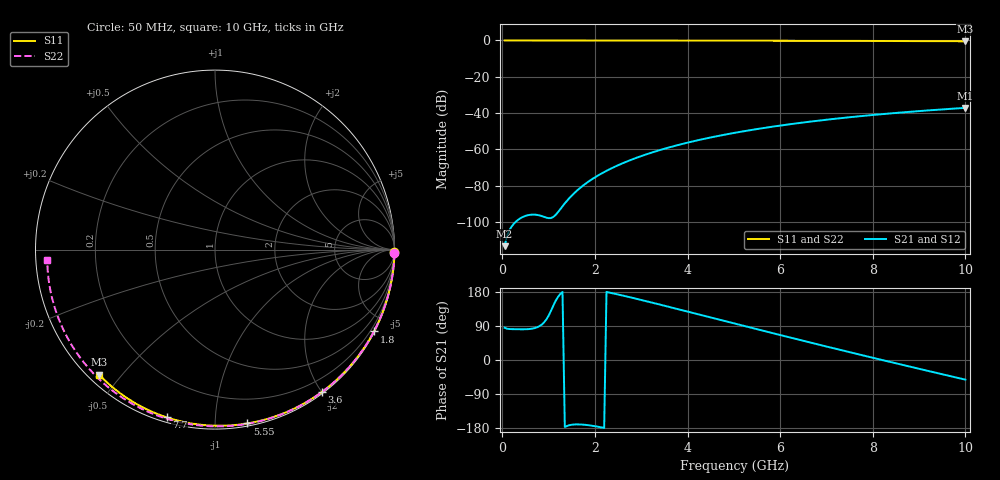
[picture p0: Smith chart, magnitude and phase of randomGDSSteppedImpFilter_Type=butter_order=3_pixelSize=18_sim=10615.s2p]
! freq	dB(S11)	phase(S11)	dB(S12)	phase(S12)
!  dB(S21)	phase(S21)	dB(S22)	phase(S22)
!S-par simulation data
#  GHz  S  DB  R 50
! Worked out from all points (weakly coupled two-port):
!   200 points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, 50 MHz to 10 GHz, reference 50 ohm
!   highest |S21| = -37.12 dB at 10 GHz (marker M1); lowest = -113.2 dB at 50 MHz (marker M2)
!   lowest |S11| = -0.4 dB at 10 GHz (marker M3), VSWR 38.80, Z = 1.53 - j21.8 ohm
!   |S11| at or under -10 dB: nowhere
!   |S22| runs from -0.6 to 0.0 dB; largest |S21 - S12| = 0
!   S11 on the Smith chart (normalised r, x): 50 MHz: open; 1.8 GHz: 0.04, -4.13; 3.6 GHz: 0.02, -2.00; 5.55 GHz: 0.02, -1.20; 7.7 GHz: 0.02, -0.75; 10 GHz: 0.03, -0.44
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0.05  -0.00 -0.8  -113.24 85.1  -113.24 85.1  -0.00 -1.0
0.45  -0.01 -6.9  -97.08 81.0  -97.08 81.0  -0.01 -9.3
0.85  -0.02 -13.0  -96.65 93.2  -96.65 93.2  -0.02 -17.5
1.25  -0.02 -19.0  -92.95 173.9  -92.95 173.9  -0.03 -25.6
1.7  -0.03 -25.7  -80.77 -170.2  -80.77 -170.2  -0.04 -34.5
1.75  -0.03 -26.5  -79.76 -170.6  -79.76 -170.6  -0.05 -35.5
1.8  -0.03 -27.2  -78.80 -171.2  -78.80 -171.2  -0.05 -36.5
2.1  -0.04 -31.7  -73.85 -176.8  -73.85 -176.8  -0.05 -42.4
2.3  -0.04 -34.6  -71.11 178.3  -71.11 178.3  -0.06 -46.3
2.5  -0.05 -37.5  -68.70 172.9  -68.70 172.9  -0.06 -50.1
2.9  -0.06 -43.3  -64.57 161.4  -64.57 161.4  -0.07 -57.8
3.4  -0.07 -50.4  -60.36 146.3  -60.36 146.3  -0.09 -67.1
3.6  -0.07 -53.2  -58.89 140.2  -58.89 140.2  -0.09 -70.7
4.3  -0.09 -62.9  -54.49 118.5  -54.49 118.5  -0.12 -83.3
5.05  -0.11 -73.0  -50.70 95.2  -50.70 95.2  -0.15 -96.2
5.55  -0.13 -79.5  -48.57 79.7  -48.57 79.7  -0.17 -104.6
6.1  -0.15 -86.5  -46.50 62.8  -46.50 62.8  -0.20 -113.7
6.7  -0.18 -94.0  -44.53 44.6  -44.53 44.6  -0.24 -123.4
7.7  -0.24 -106.1  -41.75 14.7  -41.75 14.7  -0.32 -139.3
8.35  -0.29 -113.8  -40.22 -4.4  -40.22 -4.4  -0.38 -149.6
9.2  -0.36 -123.6  -38.50 -29.0  -38.50 -29.0  -0.47 -163.2
10  -0.45 -132.8  -37.12 -51.9  -37.12 -51.9  -0.57 -176.3
